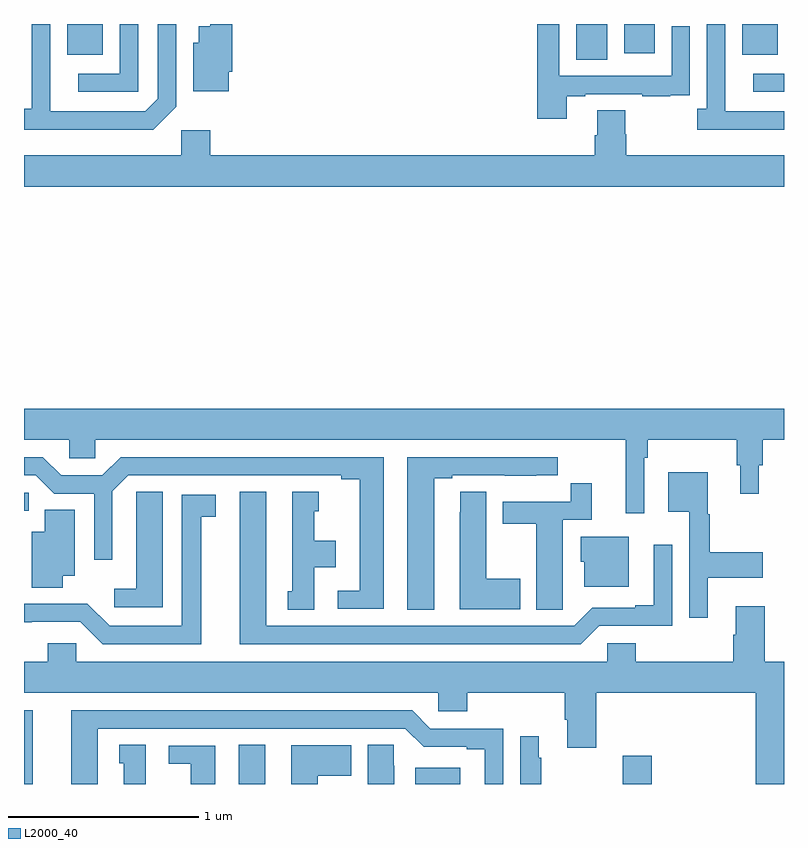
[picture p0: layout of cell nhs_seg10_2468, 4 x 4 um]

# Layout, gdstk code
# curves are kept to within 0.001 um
import gdstk
lib = gdstk.Library(unit=1e-6, precision=1e-09)
def R(c, l, rs):  # rectangles x0, y0, x1, y1
    for r in rs: c.add(gdstk.rectangle(r[:2], r[2:], *l))
def P(c, l, *ps):  # polygons
    for p in ps: c.add(gdstk.Polygon(p, *l))
L2000_40 = (2000, 40)

nhs_seg10_2468 = lib.new_cell('nhs_seg10_2468')
R(nhs_seg10_2468, L2000_40, [(243,1302.5,243.046,1302.888), (244.13,1302.5,244.27,1302.707), (245.06,1302.5,245.296,1302.586), (246.151,1302.5,246.305,1302.649), (243,1303.938,243.025,1304.034), (246.837,1306.143,247,1306.239), (245.906,1306.312,246.07,1306.5), (243.227,1306.337,243.415,1306.5), (246.779,1306.337,246.967,1306.5), (246.158,1306.347,246.319,1306.5)])
P(nhs_seg10_2468, L2000_40, [(247,1306.041),(246.691,1306.041),(246.691,1306.241),(246.69,1306.241),(246.69,1306.5),(246.594,1306.5),(246.594,1306.054),(246.543,1306.054),(246.543,1305.944),(247,1305.944)],
  [(245.857,1306.119),(245.953,1306.119),(245.953,1306.131),(246.253,1306.131),(246.253,1306.119),(246.401,1306.119),(246.401,1306.125),(246.503,1306.125),(246.503,1306.234),(246.504,1306.234),(246.504,1306.489),(246.408,1306.489),(246.408,1306.227),(245.817,1306.227),(245.817,1306.5),(245.701,1306.5),(245.701,1306.002),(245.857,1306.002)],
  [(244.078,1306.249),(244.097,1306.249),(244.097,1306.5),(243.98,1306.5),(243.98,1306.489),(243.92,1306.489),(243.92,1306.402),(243.89,1306.402),(243.89,1306.145),(244.078,1306.145)],
  [(243.6,1306.5),(243.504,1306.5),(243.504,1306.239),(243.285,1306.239),(243.285,1306.143),(243.6,1306.143)],
  [(243.801,1306.065),(243.801,1306.5),(243.705,1306.5),(243.705,1306.107),(243.639,1306.041),(243.139,1306.041),(243.138,1306.5),(243.042,1306.5),(243.042,1306.054),(243,1306.054),(243,1305.944),(243.68,1305.944)],
  [(247,1305.808),(246.17,1305.808),(246.17,1305.921),(246.165,1305.921),(246.165,1306.046),(246.017,1306.046),(246.017,1305.914),(246.005,1305.914),(246.005,1305.808),(243.98,1305.808),(243.98,1305.94),(243.828,1305.94),(243.828,1305.808),(243,1305.808),(243,1305.644),(247,1305.644)],
  [(246.264,1304.216),(246.284,1304.216),(246.284,1304.312),(246.751,1304.312),(246.751,1304.178),(246.77,1304.178),(246.77,1304.028),(246.868,1304.028),(246.868,1304.178),(246.887,1304.178),(246.887,1304.312),(247,1304.312),(247,1304.476),(243,1304.476),(243,1304.312),(243.237,1304.312),(243.237,1304.214),(243.375,1304.214),(243.375,1304.312),(246.167,1304.312),(246.167,1303.926),(246.264,1303.926)],
  [(245.158,1304.109),(245.254,1304.109),(245.254,1304.124),(245.53,1304.124),(245.53,1304.123),(245.696,1304.123),(245.696,1304.124),(245.809,1304.124),(245.809,1304.22),(245.018,1304.22),(245.018,1303.417),(245.158,1303.417)],
  [(244.894,1304.22),(243.509,1304.22),(243.413,1304.124),(243.195,1304.124),(243.099,1304.22),(243,1304.22),(243,1304.124),(243.063,1304.124),(243.159,1304.028),(243.369,1304.028),(243.369,1303.68),(243.465,1303.68),(243.465,1304.04),(243.549,1304.124),(244.67,1304.124),(244.67,1304.104),(244.766,1304.104),(244.766,1303.518),(244.65,1303.518),(244.65,1303.422),(244.894,1303.422)],
  [(246.598,1303.586),(246.889,1303.586),(246.889,1303.721),(246.61,1303.721),(246.61,1303.92),(246.598,1303.92),(246.598,1304.14),(246.392,1304.14),(246.392,1303.934),(246.501,1303.934),(246.501,1303.374),(246.598,1303.374)],
  [(245.835,1303.528),(245.836,1303.528),(245.836,1303.89),(245.987,1303.89),(245.987,1304.083),(245.878,1304.083),(245.878,1303.986),(245.519,1303.986),(245.519,1303.87),(245.696,1303.87),(245.696,1303.417),(245.835,1303.417)],
  [(243.73,1304.039),(243.591,1304.039),(243.591,1303.931),(243.59,1303.931),(243.59,1303.528),(243.474,1303.528),(243.474,1303.431),(243.73,1303.431)],
  [(245.611,1303.581),(245.434,1303.581),(245.434,1304.039),(245.295,1304.039),(245.295,1303.931),(245.294,1303.931),(245.294,1303.421),(245.611,1303.421)],
  [(246.027,1303.332),(246.411,1303.332),(246.411,1303.759),(246.314,1303.759),(246.314,1303.441),(246.218,1303.441),(246.218,1303.428),(245.991,1303.428),(245.895,1303.332),(244.276,1303.332),(244.276,1304.038),(244.136,1304.038),(244.136,1303.236),(245.931,1303.236)],
  [(244.528,1303.64),(244.642,1303.64),(244.642,1303.78),(244.528,1303.78),(244.528,1303.935),(244.552,1303.935),(244.552,1304.038),(244.412,1304.038),(244.412,1303.515),(244.388,1303.515),(244.388,1303.417),(244.528,1303.417)],
  [(243.934,1303.906),(244.009,1303.906),(244.009,1304.022),(243.83,1304.022),(243.83,1303.332),(243.45,1303.332),(243.332,1303.45),(243,1303.449),(243,1303.352),(243.297,1303.353),(243.414,1303.236),(243.934,1303.236)],
  [(243.205,1303.595),(243.268,1303.595),(243.268,1303.943),(243.11,1303.943),(243.11,1303.828),(243.041,1303.828),(243.041,1303.534),(243.205,1303.534)],
  [(246.184,1303.801),(245.93,1303.801),(245.93,1303.671),(245.948,1303.671),(245.948,1303.538),(246.184,1303.538)],
  [(247,1303.144),(246.899,1303.144),(246.899,1303.435),(246.746,1303.435),(246.746,1303.286),(246.734,1303.286),(246.734,1303.144),(246.221,1303.144),(246.221,1303.242),(246.069,1303.242),(246.069,1303.144),(243.276,1303.144),(243.276,1303.242),(243.125,1303.242),(243.125,1303.144),(243,1303.144),(243,1302.98),(245.181,1302.98),(245.181,1302.882),(245.333,1302.882),(245.333,1302.98),(245.846,1302.98),(245.846,1302.838),(245.858,1302.838),(245.858,1302.69),(246.011,1302.69),(246.011,1302.98),(246.851,1302.98),(246.851,1302.5),(247,1302.5)],
  [(243.388,1302.792),(245.007,1302.792),(245.103,1302.696),(245.33,1302.696),(245.33,1302.684),(245.426,1302.684),(245.426,1302.5),(245.523,1302.5),(245.523,1302.792),(245.139,1302.792),(245.043,1302.888),(243.248,1302.888),(243.248,1302.5),(243.388,1302.5)],
  [(245.722,1302.638),(245.71,1302.638),(245.71,1302.751),(245.613,1302.751),(245.613,1302.5),(245.722,1302.5)],
  [(243.64,1302.707),(243.5,1302.707),(243.5,1302.609),(243.524,1302.609),(243.524,1302.5),(243.64,1302.5)],
  [(244.948,1302.596),(244.947,1302.596),(244.947,1302.707),(244.808,1302.707),(244.808,1302.5),(244.948,1302.5)],
  [(244.546,1302.544),(244.723,1302.544),(244.723,1302.703),(244.406,1302.703),(244.406,1302.5),(244.546,1302.5)],
  [(244.006,1302.702),(243.762,1302.702),(243.762,1302.606),(243.878,1302.606),(243.878,1302.5),(244.006,1302.5)])

lib.write_gds('nhs_seg10_2468.gds')
